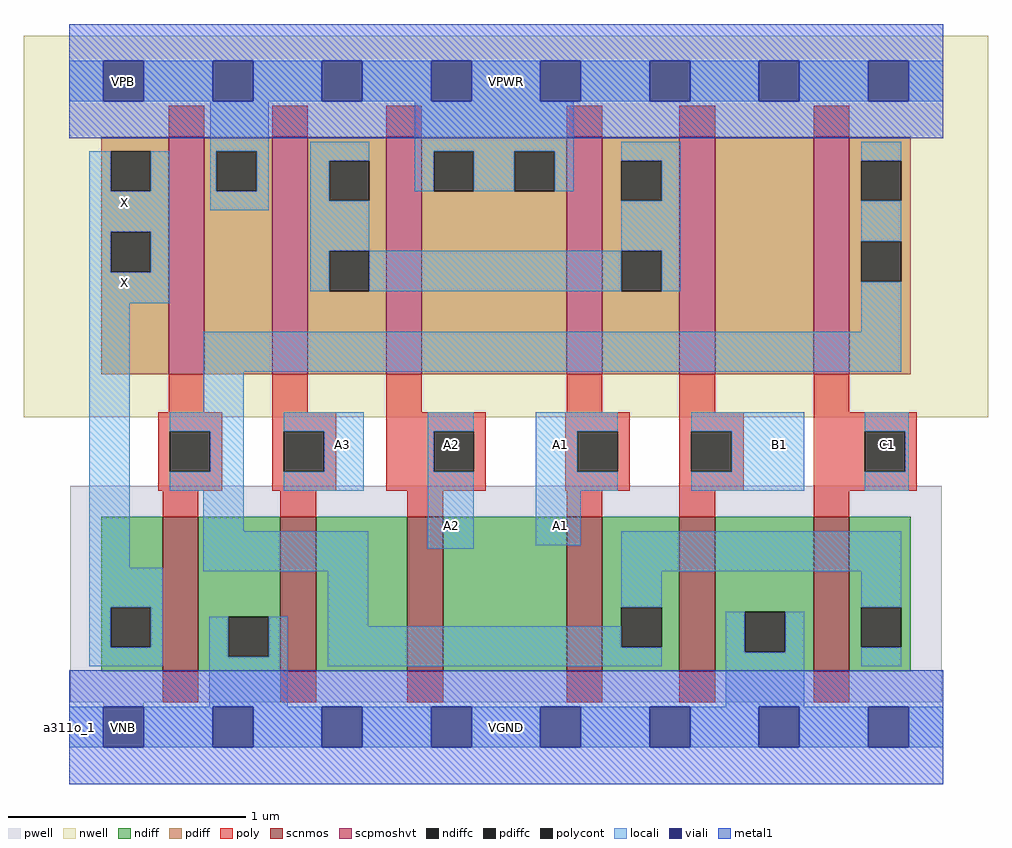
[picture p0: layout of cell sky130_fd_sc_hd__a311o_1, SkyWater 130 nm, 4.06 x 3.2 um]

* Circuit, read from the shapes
.subckt sky130_fd_sc_hd__a311o_1 A1 A2 A3 B1 C1 VGND VNB VPB VPWR X
XM1 VGND n1 X VNB sky130_fd_pr__nfet_01v8 w=0.65 l=0.15
XM2 n2 A3 VGND VNB sky130_fd_pr__nfet_01v8 w=0.65 l=0.15
XM3 n3 A2 n2 VNB sky130_fd_pr__nfet_01v8 w=0.65 l=0.15
XM4 n1 A1 n3 VNB sky130_fd_pr__nfet_01v8 w=0.65 l=0.15
XM5 VGND B1 n1 VNB sky130_fd_pr__nfet_01v8 w=0.65 l=0.15
XM6 n1 C1 VGND VNB sky130_fd_pr__nfet_01v8 w=0.65 l=0.15
XM7 VPWR n1 X VPB sky130_fd_pr__pfet_01v8_hvt w=1 l=0.15
XM8 n4 A3 VPWR VPB sky130_fd_pr__pfet_01v8_hvt w=1 l=0.15
XM9 VPWR A2 n4 VPB sky130_fd_pr__pfet_01v8_hvt w=1 l=0.15
XM10 n4 A1 VPWR VPB sky130_fd_pr__pfet_01v8_hvt w=1 l=0.15
XM11 n5 B1 n4 VPB sky130_fd_pr__pfet_01v8_hvt w=1 l=0.15
XM12 n1 C1 n5 VPB sky130_fd_pr__pfet_01v8_hvt w=1 l=0.15
.ends

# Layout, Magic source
magic
tech sky130B
magscale 1 2
<< nwell >>
rect -38 261 774 582
<< pwell >>
rect 1 21 735 203
rect 29 -17 63 21
<< scnmos >>
rect 79 47 109 177
rect 178 47 208 177
rect 285 47 315 177
rect 419 47 449 177
rect 514 47 544 177
rect 627 47 657 177
<< scpmoshvt >>
rect 84 297 114 497
rect 171 297 201 497
rect 267 297 297 497
rect 419 297 449 497
rect 514 297 544 497
rect 627 297 657 497
<< ndiff >>
rect 27 101 79 177
rect 27 67 35 101
rect 69 67 79 101
rect 27 47 79 67
rect 109 93 178 177
rect 109 59 134 93
rect 168 59 178 93
rect 109 47 178 59
rect 208 47 285 177
rect 315 47 419 177
rect 449 101 514 177
rect 449 67 465 101
rect 499 67 514 101
rect 449 47 514 67
rect 544 97 627 177
rect 544 63 569 97
rect 603 63 627 97
rect 544 47 627 63
rect 657 101 709 177
rect 657 67 667 101
rect 701 67 709 101
rect 657 47 709 67
<< pdiff >>
rect 27 485 84 497
rect 27 451 35 485
rect 69 451 84 485
rect 27 417 84 451
rect 27 383 35 417
rect 69 383 84 417
rect 27 297 84 383
rect 114 485 171 497
rect 114 451 124 485
rect 158 451 171 485
rect 114 297 171 451
rect 201 477 267 497
rect 201 443 219 477
rect 253 443 267 477
rect 201 401 267 443
rect 201 367 219 401
rect 253 367 267 401
rect 201 297 267 367
rect 297 485 419 497
rect 297 451 307 485
rect 341 451 375 485
rect 409 451 419 485
rect 297 297 419 451
rect 449 477 514 497
rect 449 443 465 477
rect 499 443 514 477
rect 449 401 514 443
rect 449 367 465 401
rect 499 367 514 401
rect 449 297 514 367
rect 544 297 627 497
rect 657 477 709 497
rect 657 443 667 477
rect 701 443 709 477
rect 657 409 709 443
rect 657 375 667 409
rect 701 375 709 409
rect 657 297 709 375
<< ndiffc >>
rect 35 67 69 101
rect 134 59 168 93
rect 465 67 499 101
rect 569 63 603 97
rect 667 67 701 101
<< pdiffc >>
rect 35 451 69 485
rect 35 383 69 417
rect 124 451 158 485
rect 219 443 253 477
rect 219 367 253 401
rect 307 451 341 485
rect 375 451 409 485
rect 465 443 499 477
rect 465 367 499 401
rect 667 443 701 477
rect 667 375 701 409
<< poly >>
rect 84 497 114 523
rect 171 497 201 523
rect 267 497 297 523
rect 419 497 449 523
rect 514 497 544 523
rect 627 497 657 523
rect 84 265 114 297
rect 171 265 201 297
rect 267 265 297 297
rect 419 265 449 297
rect 514 265 544 297
rect 627 265 657 297
rect 75 249 129 265
rect 75 215 85 249
rect 119 215 129 249
rect 75 199 129 215
rect 171 249 225 265
rect 171 215 181 249
rect 215 215 225 249
rect 171 199 225 215
rect 267 249 351 265
rect 267 215 307 249
rect 341 215 351 249
rect 267 199 351 215
rect 418 249 472 265
rect 418 215 428 249
rect 462 215 472 249
rect 418 199 472 215
rect 514 249 568 265
rect 514 215 524 249
rect 558 215 568 249
rect 514 199 568 215
rect 627 249 714 265
rect 627 215 670 249
rect 704 215 714 249
rect 627 199 714 215
rect 79 177 109 199
rect 178 177 208 199
rect 285 177 315 199
rect 419 177 449 199
rect 514 177 544 199
rect 627 177 657 199
rect 79 21 109 47
rect 178 21 208 47
rect 285 21 315 47
rect 419 21 449 47
rect 514 21 544 47
rect 627 21 657 47
<< polycont >>
rect 85 215 119 249
rect 181 215 215 249
rect 307 215 341 249
rect 428 215 462 249
rect 524 215 558 249
rect 670 215 704 249
<< locali >>
rect 0 527 29 561
rect 63 527 121 561
rect 155 527 213 561
rect 247 527 305 561
rect 339 527 397 561
rect 431 527 489 561
rect 523 527 581 561
rect 615 527 673 561
rect 707 527 736 561
rect 119 485 168 527
rect 17 451 35 485
rect 69 451 85 485
rect 17 417 85 451
rect 119 451 124 485
rect 158 451 168 485
rect 119 435 168 451
rect 203 477 253 493
rect 203 443 219 477
rect 291 485 425 527
rect 291 451 307 485
rect 341 451 375 485
rect 409 451 425 485
rect 465 477 515 493
rect 17 383 35 417
rect 69 383 85 417
rect 17 357 85 383
rect 203 401 253 443
rect 499 443 515 477
rect 465 401 515 443
rect 203 367 219 401
rect 253 367 465 401
rect 499 367 515 401
rect 667 477 701 493
rect 667 409 701 443
rect 17 134 51 357
rect 667 333 701 375
rect 113 299 701 333
rect 113 265 147 299
rect 85 249 147 265
rect 119 215 147 249
rect 85 199 147 215
rect 181 249 248 265
rect 215 215 248 249
rect 181 199 248 215
rect 302 249 341 265
rect 302 215 307 249
rect 113 165 147 199
rect 17 101 79 134
rect 113 131 252 165
rect 302 150 341 215
rect 393 249 462 265
rect 393 215 428 249
rect 393 199 462 215
rect 524 249 619 265
rect 558 215 619 249
rect 524 199 619 215
rect 670 249 707 265
rect 704 215 707 249
rect 670 199 707 215
rect 393 153 431 199
rect 17 67 35 101
rect 69 67 79 101
rect 17 51 79 67
rect 118 59 134 93
rect 168 59 184 93
rect 118 17 184 59
rect 218 85 252 131
rect 465 131 701 165
rect 465 101 499 131
rect 218 67 465 85
rect 667 101 701 131
rect 218 51 499 67
rect 553 63 569 97
rect 603 63 619 97
rect 553 17 619 63
rect 667 51 701 67
rect 0 -17 29 17
rect 63 -17 121 17
rect 155 -17 213 17
rect 247 -17 305 17
rect 339 -17 397 17
rect 431 -17 489 17
rect 523 -17 581 17
rect 615 -17 673 17
rect 707 -17 736 17
<< viali >>
rect 29 527 63 561
rect 121 527 155 561
rect 213 527 247 561
rect 305 527 339 561
rect 397 527 431 561
rect 489 527 523 561
rect 581 527 615 561
rect 673 527 707 561
rect 29 -17 63 17
rect 121 -17 155 17
rect 213 -17 247 17
rect 305 -17 339 17
rect 397 -17 431 17
rect 489 -17 523 17
rect 581 -17 615 17
rect 673 -17 707 17
<< metal1 >>
rect 0 561 736 592
rect 0 527 29 561
rect 63 527 121 561
rect 155 527 213 561
rect 247 527 305 561
rect 339 527 397 561
rect 431 527 489 561
rect 523 527 581 561
rect 615 527 673 561
rect 707 527 736 561
rect 0 496 736 527
rect 0 17 736 48
rect 0 -17 29 17
rect 63 -17 121 17
rect 155 -17 213 17
rect 247 -17 305 17
rect 339 -17 397 17
rect 431 -17 489 17
rect 523 -17 581 17
rect 615 -17 673 17
rect 707 -17 736 17
rect 0 -48 736 -17
<< labels >>
flabel locali s 397 153 431 187 0 FreeSans 200 0 0 0 A1
port 1 nsew signal input
flabel locali s 397 221 431 255 0 FreeSans 200 0 0 0 A1
port 1 nsew signal input
flabel locali s 305 153 339 187 0 FreeSans 200 0 0 0 A2
port 2 nsew signal input
flabel locali s 305 221 339 255 0 FreeSans 200 0 0 0 A2
port 2 nsew signal input
flabel locali s 30 425 64 459 0 FreeSans 200 0 0 0 X
port 10 nsew signal output
flabel locali s 581 221 615 255 0 FreeSans 200 0 0 0 B1
port 4 nsew signal input
flabel locali s 672 221 706 255 0 FreeSans 200 0 0 0 C1
port 5 nsew signal input
flabel locali s 213 221 247 255 0 FreeSans 200 0 0 0 A3
port 3 nsew signal input
flabel locali s 30 357 64 391 0 FreeSans 200 0 0 0 X
port 10 nsew signal output
flabel pwell s 29 -17 63 17 0 FreeSans 200 0 0 0 VNB
port 7 nsew ground bidirectional
flabel nwell s 29 527 63 561 0 FreeSans 200 0 0 0 VPB
port 8 nsew power bidirectional
flabel metal1 s 29 -17 63 17 0 FreeSans 200 0 0 0 VGND
port 6 nsew ground bidirectional abutment
flabel metal1 s 29 527 63 561 0 FreeSans 200 0 0 0 VPWR
port 9 nsew power bidirectional abutment
rlabel comment s 0 0 0 0 4 a311o_1
rlabel metal1 s 0 -48 736 48 1 VGND
port 6 nsew ground bidirectional abutment
rlabel metal1 s 0 496 736 592 1 VPWR
port 9 nsew power bidirectional abutment
<< properties >>
string FIXED_BBOX 0 0 736 544
string GDS_END 3681972
string GDS_FILE $PDKPATH/libs.ref/sky130_fd_sc_hd/gds/sky130_fd_sc_hd.gds
string GDS_START 3675464
string LEFclass CORE
string LEFsite unithd
string LEFsymmetry X Y R90
string path 0.000 0.000 18.400 0.000 
<< end >>
